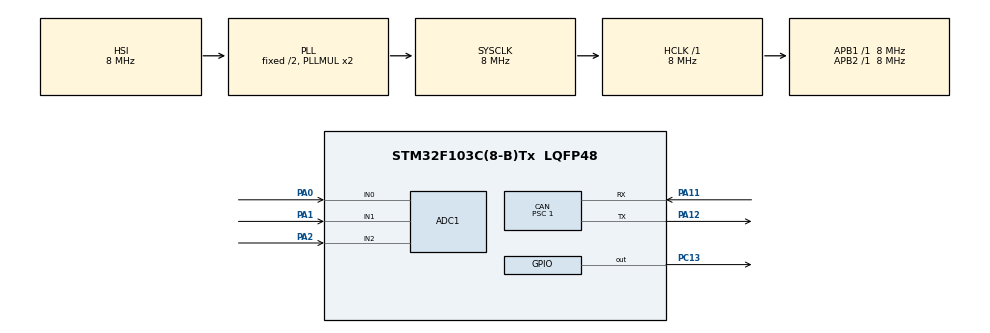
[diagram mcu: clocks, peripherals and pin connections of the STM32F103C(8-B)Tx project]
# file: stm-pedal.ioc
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ADC1.Channel-0\#ChannelRegularConversion=ADC_CHANNEL_0
ADC1.Channel-1\#ChannelRegularConversion=ADC_CHANNEL_1
ADC1.Channel-2\#ChannelRegularConversion=ADC_CHANNEL_2
ADC1.ContinuousConvMode=ENABLE
ADC1.NbrOfConversion=3
ADC1.NbrOfConversionFlag=1
ADC1.Rank-0\#ChannelRegularConversion=1
ADC1.Rank-1\#ChannelRegularConversion=2
ADC1.Rank-2\#ChannelRegularConversion=3
ADC1.SamplingTime-0\#ChannelRegularConversion=ADC_SAMPLETIME_239CYCLES_5
ADC1.SamplingTime-1\#ChannelRegularConversion=ADC_SAMPLETIME_239CYCLES_5
ADC1.SamplingTime-2\#ChannelRegularConversion=ADC_SAMPLETIME_239CYCLES_5
ADC1.master=1
CAN.BS1=CAN_BS1_5TQ
CAN.BS2=CAN_BS2_2TQ
CAN.CalculateBaudRate=1000000
CAN.CalculateTimeBit=1000
CAN.CalculateTimeQuantum=125.0
CAN.Prescaler=1
Mcu.Family=STM32F1
Mcu.Name=STM32F103C(8-B)Tx
Mcu.Package=LQFP48
NVIC.CAN1_RX1_IRQn=true\:0\:0\:false\:false\:true\:true\:true\:true
NVIC.CAN1_SCE_IRQn=true\:0\:0\:false\:false\:true\:true\:true\:true
NVIC.PriorityGroup=NVIC_PRIORITYGROUP_4
NVIC.USB_HP_CAN1_TX_IRQn=true\:0\:0\:false\:false\:true\:true\:true\:true
NVIC.USB_LP_CAN1_RX0_IRQn=true\:0\:0\:false\:false\:true\:true\:true\:true
PA0-WKUP.Signal=ADCx_IN0
PA1.Signal=ADCx_IN1
PA11.GPIO_PuPd=GPIO_PULLUP
PA11.Mode=CAN_Activate
PA11.Signal=CAN_RX
PA12.Mode=CAN_Activate
PA12.Signal=CAN_TX
PA13.Mode=Serial_Wire
PA13.Signal=SYS_JTMS-SWDIO
PA14.Mode=Serial_Wire
PA14.Signal=SYS_JTCK-SWCLK
PA2.Signal=ADCx_IN2
PC13-TAMPER-RTC.Signal=GPIO_Output
PC14-OSC32_IN.Mode=LSE-External-Oscillator
PC14-OSC32_IN.Signal=RCC_OSC32_IN
PC15-OSC32_OUT.Mode=LSE-External-Oscillator
PC15-OSC32_OUT.Signal=RCC_OSC32_OUT
PD0-OSC_IN.Mode=HSE-External-Oscillator
PD0-OSC_IN.Signal=RCC_OSC_IN
PD1-OSC_OUT.Mode=HSE-External-Oscillator
PD1-OSC_OUT.Signal=RCC_OSC_OUT
ProjectManager.HeapSize=0x200
ProjectManager.StackSize=0x400
ProjectManager.TargetToolchain=STM32CubeIDE
RCC.AHBFreq_Value=8000000
RCC.APB1Freq_Value=8000000
RCC.APB1TimFreq_Value=8000000
RCC.APB2Freq_Value=8000000
RCC.APB2TimFreq_Value=8000000
RCC.HCLKFreq_Value=8000000
RCC.SYSCLKFreq_VALUE=8000000
RCC.SYSCLKSource=RCC_SYSCLKSOURCE_PLLCLK
RCC.USBFreq_Value=8000000
SH.ADCx_IN0.0=ADC1_IN0,IN0
SH.ADCx_IN1.0=ADC1_IN1,IN1
SH.ADCx_IN2.0=ADC1_IN2,IN2
board=custom

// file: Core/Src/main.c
/* USER CODE BEGIN Header */
/**
  ******************************************************************************
  * @file           : main.c
  * @brief          : Main program body
  ******************************************************************************
  * @attention
  *
  * Copyright (c) 2025 STMicroelectronics.
  * All rights reserved.
  *
  * This software is licensed under terms that can be found in the LICENSE file
  * in the root directory of this software component.
  * If no LICENSE file comes with this software, it is provided AS-IS.
  *
  ******************************************************************************
  */
/* USER CODE END Header */
#include "main.h"

/* USER CODE BEGIN Includes */
#include <stdint.h>
#include <string.h>

/* USER CODE END Includes */

/* USER CODE BEGIN PTD */

typedef struct __attribute__((packed, aligned(1))) {
    int16_t encoder_1;      // First encoder value
    int16_t encoder_2;      // Second encoder value
    int16_t encoder_3;      // Third encoder value
} pedal_data_t;

pedal_data_t pedal_data;

typedef struct {
    uint16_t min;
    uint16_t max;
} PedalCalibrator;

/* USER CODE END PTD */

/* USER CODE BEGIN PD */
#define FILTER_SIZE 5  // Number of samples to average
#define ADC_SAMPLES 10  // Number of samples to average
#define NUM_PEDALS 2
/* USER CODE END PD */

ADC_HandleTypeDef hadc1;

CAN_HandleTypeDef hcan;

/* USER CODE BEGIN PV */
uint32_t lastSendTime = 0;
uint32_t adc_values[NUM_PEDALS];  // Store ADC readings for PA0, PA1, PA2

static int16_t encoder1_buffer[FILTER_SIZE] = {0};
static int16_t encoder2_buffer[FILTER_SIZE] = {0};
static int16_t encoder3_buffer[FILTER_SIZE] = {0};

static int filter_index = 0;

PedalCalibrator pedals[NUM_PEDALS];

int calOnce = 0;
/* USER CODE END PV */

void SystemClock_Config(void);
static void MX_GPIO_Init(void);
static void MX_CAN_Init(void);
static void MX_ADC1_Init(void);

/* USER CODE BEGIN 0 */
void Flash_Onboard_LED(GPIO_TypeDef *GPIOx, uint16_t GPIO_Pin, uint32_t delay_ms);
void CAN_Transmit();
void sendCANMessage(uint16_t canID, int16_t value);
void Read_ADC_Value();
void Read_Potentiometers();
int16_t moving_average(int16_t buffer[], int16_t new_value);
uint8_t map_hall_sensor(uint16_t adc_value);
void calibrate_pedals_on_boot();
void update_pedal_max(int pedal_index);
uint8_t get_pedal_output(int pedal_index);
/* USER CODE END 0 */

int main(void)
{

  /* MCU Configuration--------------------------------------------------------*/

  /* Reset of all peripherals, Initializes the Flash interface and the Systick. */
  HAL_Init();

  /* Configure the system clock */
  SystemClock_Config();

  /* Initialize all configured peripherals */
  MX_GPIO_Init();
  MX_CAN_Init();
  MX_ADC1_Init();
  /* USER CODE BEGIN 2 */
  HAL_CAN_Start(&hcan);

  /* USER CODE END 2 */

  /* Infinite loop */
  /* USER CODE BEGIN WHILE */
  HAL_GPIO_WritePin(GPIOC, GPIO_PIN_13, GPIO_PIN_SET);   // Turn LED off
  while (1)
  {
	  HAL_GPIO_WritePin(GPIOC, GPIO_PIN_13, GPIO_PIN_RESET);   // Turn LED off
	  Read_Potentiometers();
	 CAN_Transmit();
	 HAL_GPIO_WritePin(GPIOC, GPIO_PIN_13, GPIO_PIN_SET);   // Turn LED off
//	 HAL_Delay(50);
    /* USER CODE END WHILE */

  }
}

void SystemClock_Config(void)
{
  RCC_OscInitTypeDef RCC_OscInitStruct = {0};
  RCC_ClkInitTypeDef RCC_ClkInitStruct = {0};
  RCC_PeriphCLKInitTypeDef PeriphClkInit = {0};

  /** Initializes the RCC Oscillators according to the specified parameters
  * in the RCC_OscInitTypeDef structure.
  */
  RCC_OscInitStruct.OscillatorType = RCC_OSCILLATORTYPE_HSI;
  RCC_OscInitStruct.HSIState = RCC_HSI_ON;
  RCC_OscInitStruct.HSICalibrationValue = RCC_HSICALIBRATION_DEFAULT;
  RCC_OscInitStruct.PLL.PLLState = RCC_PLL_ON;
  RCC_OscInitStruct.PLL.PLLSource = RCC_PLLSOURCE_HSI_DIV2;
  RCC_OscInitStruct.PLL.PLLMUL = RCC_PLL_MUL2;
  if (HAL_RCC_OscConfig(&RCC_OscInitStruct) != HAL_OK)
  {
    Error_Handler();
  }

  /** Initializes the CPU, AHB and APB buses clocks
  */
  RCC_ClkInitStruct.ClockType = RCC_CLOCKTYPE_HCLK|RCC_CLOCKTYPE_SYSCLK
                              |RCC_CLOCKTYPE_PCLK1|RCC_CLOCKTYPE_PCLK2;
  RCC_ClkInitStruct.SYSCLKSource = RCC_SYSCLKSOURCE_PLLCLK;
  RCC_ClkInitStruct.AHBCLKDivider = RCC_SYSCLK_DIV1;
  RCC_ClkInitStruct.APB1CLKDivider = RCC_HCLK_DIV1;
  RCC_ClkInitStruct.APB2CLKDivider = RCC_HCLK_DIV1;

  if (HAL_RCC_ClockConfig(&RCC_ClkInitStruct, FLASH_LATENCY_0) != HAL_OK)
  {
    Error_Handler();
  }
  PeriphClkInit.PeriphClockSelection = RCC_PERIPHCLK_ADC;
  PeriphClkInit.AdcClockSelection = RCC_ADCPCLK2_DIV2;
  if (HAL_RCCEx_PeriphCLKConfig(&PeriphClkInit) != HAL_OK)
  {
    Error_Handler();
  }
}

static void MX_ADC1_Init(void)
{

  ADC_ChannelConfTypeDef sConfig = {0};

  /** Common config
  */
  hadc1.Instance = ADC1;
  hadc1.Init.ScanConvMode = ADC_SCAN_ENABLE;
  hadc1.Init.ContinuousConvMode = ENABLE;
  hadc1.Init.DiscontinuousConvMode = DISABLE;
  hadc1.Init.ExternalTrigConv = ADC_SOFTWARE_START;
  hadc1.Init.DataAlign = ADC_DATAALIGN_RIGHT;
  hadc1.Init.NbrOfConversion = 3;
  if (HAL_ADC_Init(&hadc1) != HAL_OK)
  {
    Error_Handler();
  }

  /** Configure Regular Channel
  */
  sConfig.Channel = ADC_CHANNEL_0;
  sConfig.Rank = ADC_REGULAR_RANK_1;
  sConfig.SamplingTime = ADC_SAMPLETIME_239CYCLES_5;
  if (HAL_ADC_ConfigChannel(&hadc1, &sConfig) != HAL_OK)
  {
    Error_Handler();
  }

  /** Configure Regular Channel
  */
  sConfig.Channel = ADC_CHANNEL_1;
  sConfig.Rank = ADC_REGULAR_RANK_2;
  if (HAL_ADC_ConfigChannel(&hadc1, &sConfig) != HAL_OK)
  {
    Error_Handler();
  }

  /** Configure Regular Channel
  */
  sConfig.Channel = ADC_CHANNEL_2;
  sConfig.Rank = ADC_REGULAR_RANK_3;
  if (HAL_ADC_ConfigChannel(&hadc1, &sConfig) != HAL_OK)
  {
    Error_Handler();
  }

}

static void MX_CAN_Init(void)
{

  hcan.Instance = CAN1;
  hcan.Init.Prescaler = 1;
  hcan.Init.Mode = CAN_MODE_NORMAL;
  hcan.Init.SyncJumpWidth = CAN_SJW_1TQ;
  hcan.Init.TimeSeg1 = CAN_BS1_5TQ;
  hcan.Init.TimeSeg2 = CAN_BS2_2TQ;
  hcan.Init.TimeTriggeredMode = DISABLE;
  hcan.Init.AutoBusOff = DISABLE;
  hcan.Init.AutoWakeUp = DISABLE;
  hcan.Init.AutoRetransmission = DISABLE;
  hcan.Init.ReceiveFifoLocked = DISABLE;
  hcan.Init.TransmitFifoPriority = DISABLE;
  if (HAL_CAN_Init(&hcan) != HAL_OK)
  {
    Error_Handler();
  }
  /* USER CODE BEGIN CAN_Init 2 */
  CAN_FilterTypeDef filterConfig;

  filterConfig.FilterBank = 0;                  // Use filter bank 0 (adjust if needed)
  filterConfig.FilterMode = CAN_FILTERMODE_IDMASK;  // Mask mode
  filterConfig.FilterScale = CAN_FILTERSCALE_32BIT; // 32-bit scale
  filterConfig.FilterIdHigh = 0xFFFF;           // Invalid ID
  filterConfig.FilterIdLow = 0xFFFF;            // Invalid ID
  filterConfig.FilterMaskIdHigh = 0xFFFF;       // Mask blocks all
  filterConfig.FilterMaskIdLow = 0xFFFF;        // Mask blocks all
  filterConfig.FilterFIFOAssignment = CAN_RX_FIFO1; // Assign to FIFO0 (or FIFO1 if used)
  filterConfig.FilterActivation = ENABLE;       // Activate the filter

  HAL_CAN_ConfigFilter(&hcan, &filterConfig);

  /* USER CODE END CAN_Init 2 */

}

static void MX_GPIO_Init(void)
{
  GPIO_InitTypeDef GPIO_InitStruct = {0};

  /* GPIO Ports Clock Enable */
  __HAL_RCC_GPIOC_CLK_ENABLE();
  __HAL_RCC_GPIOD_CLK_ENABLE();
  __HAL_RCC_GPIOA_CLK_ENABLE();

  /*Configure GPIO pin Output Level */
  HAL_GPIO_WritePin(GPIOC, GPIO_PIN_13, GPIO_PIN_RESET);

  /*Configure GPIO pin : PC13 */
  GPIO_InitStruct.Pin = GPIO_PIN_13;
  GPIO_InitStruct.Mode = GPIO_MODE_OUTPUT_PP;
  GPIO_InitStruct.Pull = GPIO_NOPULL;
  GPIO_InitStruct.Speed = GPIO_SPEED_FREQ_LOW;
  HAL_GPIO_Init(GPIOC, &GPIO_InitStruct);

}

/* USER CODE BEGIN 4 */
/*
 * CAN BUS FUNCTIONS
 */
void CAN_Transmit() {
	uint32_t currentTime = HAL_GetTick();

	if(currentTime - lastSendTime >= 2) {
		sendCANMessage(0x300, pedal_data.encoder_1);
		sendCANMessage(0x301, pedal_data.encoder_2);
		sendCANMessage(0x302, pedal_data.encoder_3);

		lastSendTime = currentTime;  // Update last transmission time
		HAL_Delay(1);
	}
}

void sendCANMessage(uint16_t canID, int16_t value) {
    CAN_TxHeaderTypeDef TxHeader;
    uint8_t TxData[2];  // 2-byte buffer for int16_t
    uint32_t TxMailbox;

    // Pack int16_t correctly (Little Endian)
    TxData[0] = (uint8_t)(value & 0xFF);
    TxData[1] = (uint8_t)((value >> 8) & 0xFF);

    // Configure the CAN header
    TxHeader.StdId = canID;  // Set the ID
    TxHeader.IDE = CAN_ID_STD;  // Standard 11-bit ID
    TxHeader.RTR = CAN_RTR_DATA;  // Data frame, not remote request
    TxHeader.DLC = sizeof(value);  // Data Length = 4 bytes

    // Copy integer value into TxData buffer (ensure correct byte order)
    memcpy(TxData, &value, sizeof(value));

    // Send the CAN message
    if (HAL_CAN_AddTxMessage(&hcan, &TxHeader, TxData, &TxMailbox) != HAL_OK) {
    	 // Optionally log the state of CAN error counters
		uint32_t error = HAL_CAN_GetError(&hcan);
		HAL_CAN_Stop(&hcan);  // Stop CAN
		HAL_CAN_Start(&hcan); // Restart CAN

		// Optional: Clear error flags
		__HAL_CAN_CLEAR_FLAG(&hcan, CAN_FLAG_ERRI);
    }
}

void Read_ADC_Value() {

}

void Read_Potentiometers() {
	static uint32_t last_read_time = 0;
    uint32_t now = HAL_GetTick();

    if ((now - last_read_time) >= 50) {
        last_read_time = now;
        HAL_ADC_Start(&hadc1);  // Start conversion for all channels

        for (int i = 0; i < NUM_PEDALS; i++) {
            HAL_ADC_PollForConversion(&hadc1, HAL_MAX_DELAY);
            adc_values[i] = HAL_ADC_GetValue(&hadc1);  // Read each channel in order
        }

        HAL_ADC_Stop(&hadc1);

//		if(calOnce == 0)
//		{
//			calibrate_pedals_on_boot();
//			calOnce = 1;
//		}
//
//		for (int i = 0; i < NUM_PEDALS; i++) {
//			update_pedal_max(i);
//		}

		pedal_data.encoder_1 = moving_average(encoder1_buffer, map_hall_sensor(adc_values[0]));
		pedal_data.encoder_2 = moving_average(encoder2_buffer, map_hall_sensor(adc_values[1]));
//		pedal_data.encoder_3 = moving_average(encoder3_buffer, map_hall_sensor(2));

    }
}

int16_t moving_average(int16_t buffer[], int16_t new_value) {
    buffer[filter_index % FILTER_SIZE] = new_value;  // Store new reading in buffer
    filter_index++;

    int32_t sum = 0;
    for (int i = 0; i < FILTER_SIZE; i++) {
        sum += buffer[i];  // Sum up last FILTER_SIZE values
    }
    return (int16_t)(sum / FILTER_SIZE);  // Return average
}

uint8_t map_hall_sensor(uint16_t adc_value) {
    const uint16_t adc_high = 3800;
    const uint16_t adc_low  = 3200;

    if (adc_value >= adc_high) return 0;
    if (adc_value <= adc_low) return 255;

    return (uint8_t)(((adc_high - adc_value) * 255UL) / (adc_high - adc_low));
}

//void calibrate_pedals_on_boot() {
//    for (int i = 0; i < NUM_PEDALS; ++i) {
//        pedals[i].min = adc_values[i];
//        pedals[i].max = adc_values[i] + 10;
//    }
//}
//
//void update_pedal_max(int pedal_index) {
//    if (pedal_index < 0 || pedal_index >= NUM_PEDALS) return;
//    if (adc_values[pedal_index] > pedals[pedal_index].max) {
//        pedals[pedal_index].max = adc_values[pedal_index];
//    }
//}
//
//uint8_t get_pedal_output(int pedal_index) {
//    if (pedal_index < 0 || pedal_index >= NUM_PEDALS) return 0;
//
//    uint16_t min = pedals[pedal_index].min;
//    uint16_t max = pedals[pedal_index].max;
//
//    if (max <= min) return 0;
//
////    // Clamp ADC value
////    if (adc_values[pedal_index] < min) adc_values[pedal_index] = min;
////    if (adc_values[pedal_index] > max) adc_values[pedal_index] = max;
//
//    return (uint8_t)(((uint32_t)(max - adc_values[pedal_index]) * 255) / (max - min));
//}

/* USER CODE END 4 */

void Error_Handler(void)
{
  __disable_irq();
  while (1)
  {
  }
}
